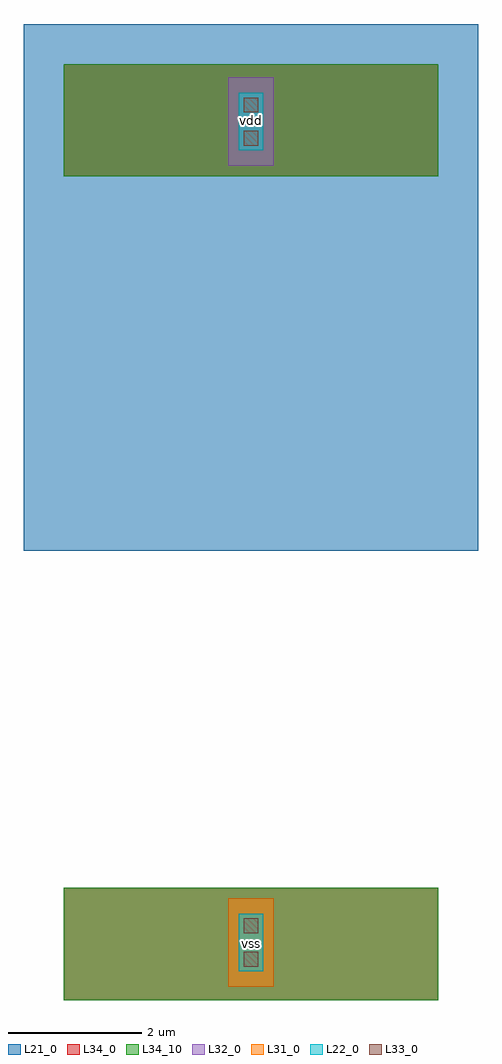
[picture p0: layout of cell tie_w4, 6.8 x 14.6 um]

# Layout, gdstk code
import gdstk
lib = gdstk.Library(unit=1e-6, precision=1e-09)
def R(c, l, rs):  # rectangles x0, y0, x1, y1
    for r in rs: c.add(gdstk.rectangle(r[:2], r[2:], *l))
L21_0 = (21, 0)
L22_0 = (22, 0)
L31_0 = (31, 0)
L32_0 = (32, 0)
L33_0 = (33, 0)
L34_0 = (34, 0)
L34_10 = (34, 10)

tie_w4 = lib.new_cell('tie_w4')
R(tie_w4, L21_0, [(-0.6,6.72,6.2,14.6)])
R(tie_w4, L22_0, [(2.62,0.43,2.98,1.29), (2.62,12.71,2.98,13.57)])
R(tie_w4, L31_0, [(2.46,0.2,3.14,1.52)])
R(tie_w4, L32_0, [(2.46,12.48,3.14,13.8)])
R(tie_w4, L33_0, [(2.69,0.5,2.91,0.72), (2.69,1,2.91,1.22), (2.69,12.78,2.91,13), (2.69,13.28,2.91,13.5)])
R(tie_w4, L34_0, [(0,0,5.6,1.68), (0,12.32,5.6,14)])
R(tie_w4, L34_10, [(0,0,5.6,1.68), (0,12.32,5.6,14)])
tie_w4.add(gdstk.Label('vdd', (2.8,13.16), layer=34, texttype=10))
tie_w4.add(gdstk.Label('vss', (2.8,0.84), layer=34, texttype=10))

lib.write_gds('tie_w4.gds')
